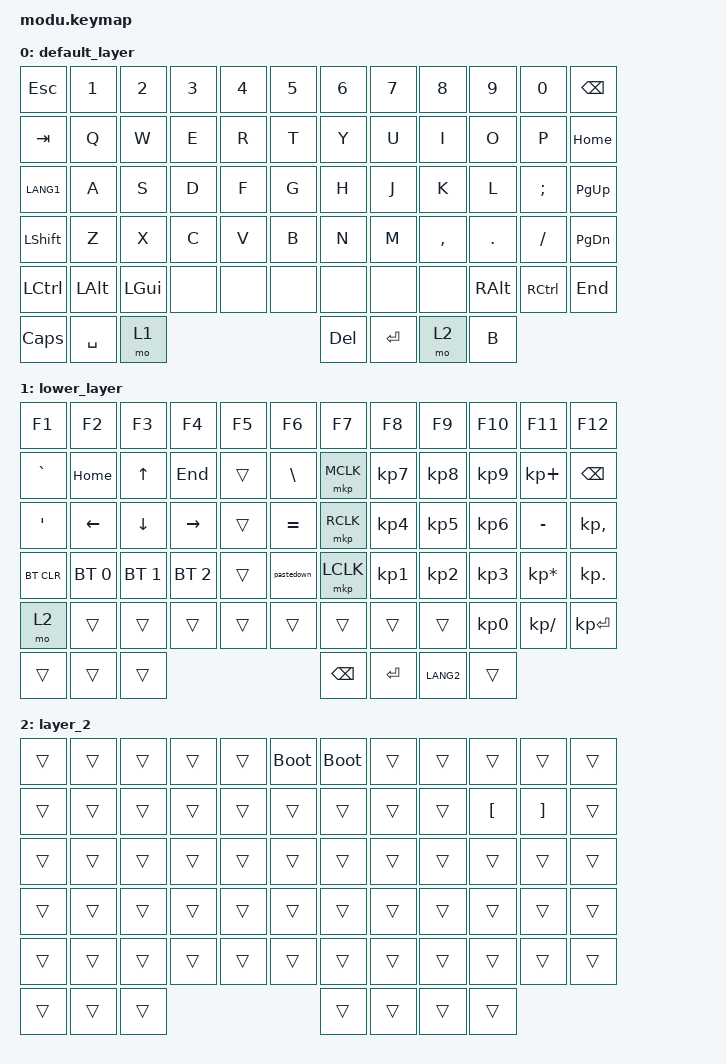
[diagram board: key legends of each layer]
/*
 * Copyright (c) 2026 EKS Inc.
 * Created by Ryu.
 * SPDX-License-Identifier: LicenseRef-EKS-NonCommercial-1.0
 *
 * Unofficial modification, based on upstream commit
 * bee0bb4b812f63f279eb67e928accc89600b5904 and customized through
 * Keymap Editor for GitHub Actions builds.
 */

#include <behaviors.dtsi>
#include <dt-bindings/zmk/bt.h>
#include <dt-bindings/zmk/keys.h>
#include <dt-bindings/zmk/pointing.h>

/ {
    combos {
        compatible = "zmk,combos";

        reset {
            bindings = <&sys_reset>;
            key-positions = <48 5 6>;
            layers = <1>;
        };
    };

    macros {
        pastedown: pastedown {
            compatible = "zmk,behavior-macro";
            #binding-cells = <0>;
            bindings =
                <&macro_press>,
                <&kp LCTRL>,
                <&macro_tap>,
                <&kp V>,
                <&macro_release>,
                <&kp LCTRL>,
                <&macro_wait_time 10>,
                <&kp DOWN>;

            label = "PASTEDOWN";
        };
    };

    keymap {
        compatible = "zmk,keymap";

        default_layer {
            // -----------------------------------------------------------------
            // |ESC | 1  | 2  | 3  | 4  | 5  |   | 6  | 7  | 8  | 9  | 0  |DEL |
            // |TAB | Q  | W  | E  | R  | T  |   | Y  | U  | I  | O  | P  |HOME|
            // |CAPS| A  | S  | D  | F  | G  |   | H  | J  | K  | L  | ;  |PGUP|
            // |LSFT| Z  | X  | C  | V  | B  |   | N  | M  | ,  | .  | /  |PGDN|
            // |LCTL|LALT|LGUI|                                 |RALT|RCTL|END |
            //                |LANG|SPC |MO1 |   |BSPC|RET |MO1 | B  |

            bindings = <
&kp ESC       &kp N1     &kp N2    &kp N3  &kp N4  &kp N5  &kp N6      &kp N7   &kp N8     &kp N9    &kp N0     &kp BACKSPACE
&kp TAB       &kp Q      &kp W     &kp E   &kp R   &kp T   &kp Y       &kp U    &kp I      &kp O     &kp P      &kp HOME
&kp LANG1     &kp A      &kp S     &kp D   &kp F   &kp G   &kp H       &kp J    &kp K      &kp L     &kp SEMI   &kp PG_UP
&kp LSHFT     &kp Z      &kp X     &kp C   &kp V   &kp B   &kp N       &kp M    &kp COMMA  &kp DOT   &kp FSLH   &kp PG_DN
&kp LCTRL     &kp LALT   &kp LGUI  &none   &none   &none   &none       &none    &none      &kp RALT  &kp RCTRL  &kp END
&kp CAPSLOCK  &kp SPACE  &mo 1                             &kp DELETE  &kp RET  &mo 2      &kp B
            >;
        };

        lower_layer {
            bindings = <
&kp F1            &kp F2        &kp F3        &kp F4        &kp F5  &kp F6         &kp F7         &kp F8     &kp F9     &kp F10    &kp F11          &kp F12
&kp GRAVE         &kp HOME      &kp UP        &kp END       &trans  &kp BACKSLASH  &mkp MCLK      &kp KP_N7  &kp KP_N8  &kp KP_N9  &kp KP_PLUS      &kp BSPC
&kp SINGLE_QUOTE  &kp LEFT      &kp DOWN      &kp RIGHT     &trans  &kp EQUAL      &mkp RCLK      &kp KP_N4  &kp KP_N5  &kp KP_N6  &kp MINUS        &kp KP_COMMA
&bt BT_CLR        &bt BT_SEL 0  &bt BT_SEL 1  &bt BT_SEL 2  &trans  &pastedown     &mkp LCLK      &kp KP_N1  &kp KP_N2  &kp KP_N3  &kp KP_MULTIPLY  &kp KP_DOT
&mo 2             &trans        &trans        &trans        &trans  &trans         &trans         &trans     &trans     &kp KP_N0  &kp KP_DIVIDE    &kp KP_ENTER
&trans            &trans        &trans                                             &kp BACKSPACE  &kp ENTER  &kp LANG2  &trans
            >;
        };

        layer_2 {
            bindings = <
&trans  &trans  &trans  &trans  &trans  &bootloader  &bootloader  &trans  &trans  &trans            &trans             &trans
&trans  &trans  &trans  &trans  &trans  &trans       &trans       &trans  &trans  &kp LEFT_BRACKET  &kp RIGHT_BRACKET  &trans
&trans  &trans  &trans  &trans  &trans  &trans       &trans       &trans  &trans  &trans            &trans             &trans
&trans  &trans  &trans  &trans  &trans  &trans       &trans       &trans  &trans  &trans            &trans             &trans
&trans  &trans  &trans  &trans  &trans  &trans       &trans       &trans  &trans  &trans            &trans             &trans
&trans  &trans  &trans                               &trans       &trans  &trans  &trans
            >;
        };
    };
};
